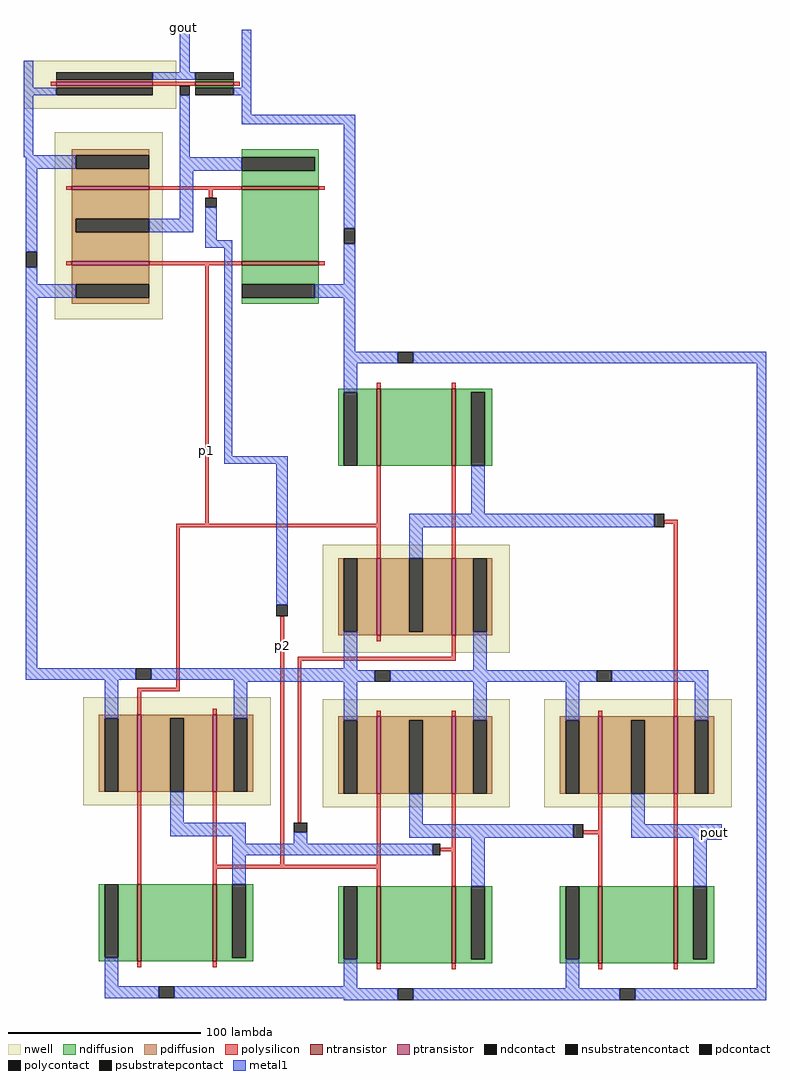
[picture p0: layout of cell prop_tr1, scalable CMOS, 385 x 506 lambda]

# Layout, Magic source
magic
tech scmos
<< polysilicon >>
rect 97 63 99 67
rect 95 -107 97 28
rect 134 -284 136 -154
<< polycontact >>
rect 95 58 101 63
rect 132 -154 138 -148
<< metal1 >>
rect 82 148 87 153
rect 95 41 101 58
rect 95 37 109 41
rect 2 -181 8 12
rect 105 -71 109 37
rect 167 -18 173 12
rect 105 -75 138 -71
rect 132 -148 138 -75
rect 2 -187 44 -181
rect 354 -270 363 -262
use and_tr1  and_tr1_0
transform 0 -1 173 1 0 0
box 0 0 150 172
use xor_tr1  xor_tr1_0
transform 1 0 32 0 1 -352
box 0 -1 354 335
<< labels >>
rlabel polysilicon 96 -68 96 -68 1 p1
rlabel polysilicon 135 -169 135 -169 1 p2
rlabel metal1 359 -266 359 -266 1 pout
rlabel metal1 84 151 84 151 5 gout
<< end >>

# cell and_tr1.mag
magic
tech scmos
<< metal1 >>
rect 84 167 110 172
rect 83 86 103 91
rect 101 6 106 55
rect 84 0 106 6
use nand_tr  nand_tr_0
transform 1 0 0 0 1 100
box 0 -100 97 71
use first  first_0
transform 1 0 23 0 1 97
box 78 -43 127 75
<< end >>

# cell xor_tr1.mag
magic
tech scmos
<< nwell >>
rect 124 179 221 235
rect 124 99 221 155
rect 239 99 336 155
<< ntransistor >>
rect 152 276 154 316
rect 191 276 193 316
rect 152 18 154 58
rect 191 18 193 58
rect 267 18 269 58
rect 306 18 308 58
<< ptransistor >>
rect 152 188 154 228
rect 191 188 193 228
rect 152 106 154 146
rect 191 106 193 146
rect 267 106 269 146
rect 306 106 308 146
<< ndiffusion >>
rect 132 314 152 316
rect 132 276 135 314
rect 142 276 152 314
rect 154 276 191 316
rect 193 314 212 316
rect 193 276 201 314
rect 208 276 212 314
rect 132 20 135 58
rect 142 20 152 58
rect 132 18 152 20
rect 154 18 191 58
rect 193 20 201 58
rect 208 20 212 58
rect 193 18 212 20
rect 247 20 250 58
rect 257 20 267 58
rect 247 18 267 20
rect 269 18 306 58
rect 308 20 316 58
rect 323 20 327 58
rect 308 18 327 20
<< pdiffusion >>
rect 132 190 135 228
rect 142 190 152 228
rect 132 188 152 190
rect 154 190 169 228
rect 176 190 191 228
rect 154 188 191 190
rect 193 190 202 228
rect 209 190 212 228
rect 193 188 212 190
rect 132 144 152 146
rect 132 106 135 144
rect 142 106 152 144
rect 154 144 191 146
rect 154 106 169 144
rect 176 106 191 144
rect 193 144 212 146
rect 193 106 202 144
rect 209 106 212 144
rect 247 144 267 146
rect 247 106 250 144
rect 257 106 267 144
rect 269 144 306 146
rect 269 106 284 144
rect 291 106 306 144
rect 308 144 327 146
rect 308 106 317 144
rect 324 106 327 144
<< ndcontact >>
rect 135 276 142 314
rect 201 276 208 314
rect 135 20 142 58
rect 201 20 208 58
rect 250 20 257 58
rect 316 20 323 58
<< pdcontact >>
rect 135 190 142 228
rect 169 190 176 228
rect 202 190 209 228
rect 135 106 142 144
rect 169 106 176 144
rect 202 106 209 144
rect 250 106 257 144
rect 284 106 291 144
rect 317 106 324 144
<< psubstratepcontact >>
rect 163 329 171 335
rect 163 -1 171 5
rect 278 -1 286 5
<< nsubstratencontact >>
rect 151 164 159 170
rect 266 164 274 170
<< polysilicon >>
rect 152 316 154 319
rect 191 316 193 319
rect 152 246 154 276
rect 48 244 154 246
rect 48 161 50 244
rect 152 228 154 244
rect 191 228 193 276
rect 301 246 308 248
rect 152 185 154 188
rect 191 177 193 188
rect 28 159 50 161
rect 111 175 193 177
rect 28 149 30 159
rect 111 91 113 175
rect 152 146 154 149
rect 191 146 193 149
rect 267 146 269 149
rect 306 146 308 246
rect 152 69 154 106
rect 191 78 193 106
rect 267 87 269 106
rect 259 85 269 87
rect 185 76 193 78
rect 69 67 154 69
rect 152 58 154 67
rect 191 58 193 76
rect 267 58 269 85
rect 306 58 308 106
rect 152 15 154 18
rect 191 15 193 18
rect 267 15 269 18
rect 306 15 308 18
<< polycontact >>
rect 296 244 301 251
rect 109 86 116 91
rect 181 74 185 80
rect 254 83 259 90
<< metal1 >>
rect 135 329 163 335
rect 171 329 354 335
rect 135 314 142 329
rect 201 251 208 276
rect 169 244 296 251
rect 169 228 176 244
rect 135 171 142 190
rect 84 170 142 171
rect 202 170 209 190
rect 84 164 151 170
rect 159 164 266 170
rect 274 164 324 170
rect 135 144 142 164
rect 202 144 209 164
rect 250 144 257 164
rect 317 144 324 164
rect 109 80 116 86
rect 169 90 176 106
rect 284 90 291 106
rect 169 83 254 90
rect 284 83 323 90
rect 83 74 181 80
rect 201 58 208 83
rect 316 58 323 83
rect 135 6 142 20
rect 84 5 142 6
rect 250 5 257 20
rect 349 5 354 329
rect 84 0 163 5
rect 135 -1 163 0
rect 171 -1 278 5
rect 286 -1 354 5
use nand_tr  nand_tr_0
transform 1 0 0 0 1 100
box 0 -100 97 71
<< labels >>
rlabel metal1 191 332 191 332 5 gnd
rlabel metal1 191 2 191 2 1 gnd
rlabel metal1 183 167 183 167 5 vdd
rlabel metal1 298 167 298 167 5 vdd
rlabel metal1 306 2 306 2 1 gnd
rlabel metal1 319 86 319 86 1 out
<< end >>

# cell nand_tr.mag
magic
tech scmos
<< nwell >>
rect 0 0 97 56
<< ntransistor >>
rect 28 -81 30 -41
rect 67 -81 69 -41
<< ptransistor >>
rect 28 7 30 47
rect 67 7 69 47
<< ndiffusion >>
rect 8 -79 11 -41
rect 18 -79 28 -41
rect 8 -81 28 -79
rect 30 -81 67 -41
rect 69 -79 77 -41
rect 84 -79 88 -41
rect 69 -81 88 -79
<< pdiffusion >>
rect 8 45 28 47
rect 8 7 11 45
rect 18 7 28 45
rect 30 45 67 47
rect 30 7 45 45
rect 52 7 67 45
rect 69 45 88 47
rect 69 7 78 45
rect 85 7 88 45
<< ndcontact >>
rect 11 -79 18 -41
rect 77 -79 84 -41
<< pdcontact >>
rect 11 7 18 45
rect 45 7 52 45
rect 78 7 85 45
<< psubstratepcontact >>
rect 39 -100 47 -94
<< nsubstratencontact >>
rect 27 65 35 71
<< polysilicon >>
rect 28 47 30 50
rect 67 47 69 50
rect 28 -41 30 7
rect 67 -41 69 7
rect 28 -84 30 -81
rect 67 -84 69 -81
<< metal1 >>
rect 11 65 27 71
rect 35 65 85 71
rect 11 45 18 65
rect 78 45 85 65
rect 45 -9 52 7
rect 45 -16 84 -9
rect 77 -41 84 -16
rect 11 -94 18 -79
rect 11 -100 39 -94
rect 47 -100 85 -94
<< labels >>
rlabel metal1 67 -97 67 -97 1 gnd
rlabel metal1 59 68 59 68 5 vdd
<< end >>

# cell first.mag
magic
tech scmos
<< nwell >>
rect 86 -4 111 75
<< ntransistor >>
rect 98 -34 100 -14
<< ptransistor >>
rect 98 8 100 58
<< ndiffusion >>
rect 97 -34 98 -14
rect 100 -34 101 -14
<< pdiffusion >>
rect 97 8 98 58
rect 100 8 101 58
<< ndcontact >>
rect 93 -34 97 -14
rect 101 -34 105 -14
<< pdcontact >>
rect 93 8 97 58
rect 101 8 105 58
<< polysilicon >>
rect 98 58 100 61
rect 98 -14 100 8
rect 98 -37 100 -34
<< polycontact >>
rect 93 -11 98 -6
<< metal1 >>
rect 86 70 111 75
rect 93 58 97 70
rect 101 -6 105 8
rect 79 -11 93 -6
rect 101 -11 127 -6
rect 101 -14 105 -11
rect 93 -38 97 -34
rect 78 -43 127 -38
<< labels >>
rlabel metal1 96 -42 96 -42 1 gnd
rlabel metal1 95 72 95 72 5 vdd
<< end >>
